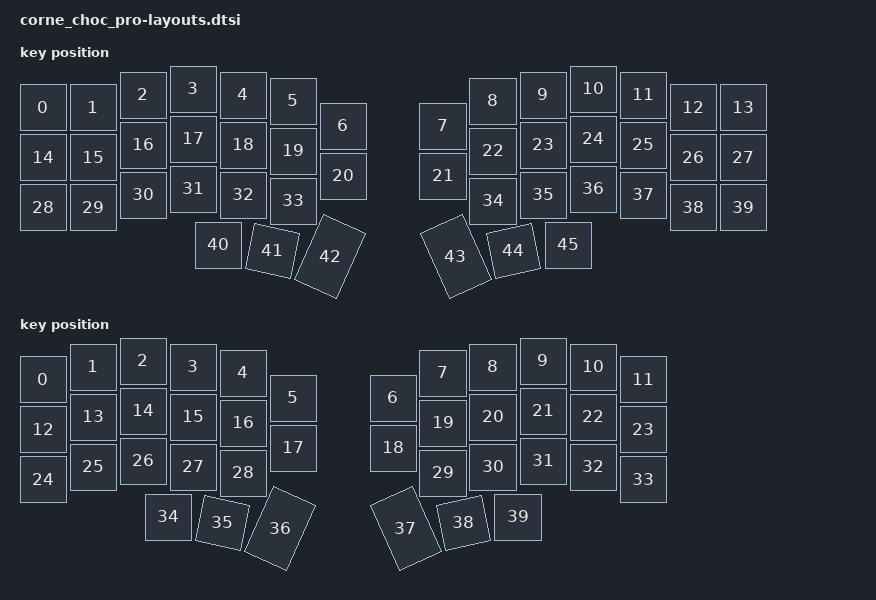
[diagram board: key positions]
#include <physical_layouts.dtsi>

/ {
    corne_choc_pro_position_map {
        compatible = "zmk,physical-layout-position-map";
        complete;

        default_map: six_col {
            physical-layout = <&default_layout>;
            positions
                = < 0  1  2  3  4  5  6  7  8  9 10 11 12 13>
                , <14 15 16 17 18 19 20 21 22 23 24 25 26 27>
                , <28 29 30 31 32 33       34 35 36 37 38 39>
                , <         40 41 42       43 44 45         >;
        };

        five_col_map: five_col {
            physical-layout = <&five_col_layout>;
            positions
                = <45  0  1  2  3  4  5  6  7  8  9 10 11 44>
                , <43 12 13 14 15 16 17 18 19 20 21 22 23 42>
                , <41 24 25 26 27 28       29 30 31 32 33 40>
                , <         34 35 36       37 38 39         >;
        };
    };
};

/ {
    default_layout: default_layout {
        compatible = "zmk,physical-layout";
        display-name = "Default Layout";
        keys  //                     w   h    x    y     rot    rx    ry
            = <&key_physical_attrs 100 100    0   37       0     0     0>
            , <&key_physical_attrs 100 100  100   37       0     0     0>
            , <&key_physical_attrs 100 100  200   12       0     0     0>
            , <&key_physical_attrs 100 100  300    0       0     0     0>
            , <&key_physical_attrs 100 100  400   12       0     0     0>
            , <&key_physical_attrs 100 100  500   24       0     0     0>
            , <&key_physical_attrs 100 100  600   74       0     0     0>
            , <&key_physical_attrs 100 100  800   74       0     0     0>
            , <&key_physical_attrs 100 100  900   24       0     0     0>
            , <&key_physical_attrs 100 100 1000   12       0     0     0>
            , <&key_physical_attrs 100 100 1100    0       0     0     0>
            , <&key_physical_attrs 100 100 1200   12       0     0     0>
            , <&key_physical_attrs 100 100 1300   37       0     0     0>
            , <&key_physical_attrs 100 100 1400   37       0     0     0>
            , <&key_physical_attrs 100 100    0  137       0     0     0>
            , <&key_physical_attrs 100 100  100  137       0     0     0>
            , <&key_physical_attrs 100 100  200  112       0     0     0>
            , <&key_physical_attrs 100 100  300  100       0     0     0>
            , <&key_physical_attrs 100 100  400  112       0     0     0>
            , <&key_physical_attrs 100 100  500  124       0     0     0>
            , <&key_physical_attrs 100 100  600  174       0     0     0>
            , <&key_physical_attrs 100 100  800  174       0     0     0>
            , <&key_physical_attrs 100 100  900  124       0     0     0>
            , <&key_physical_attrs 100 100 1000  112       0     0     0>
            , <&key_physical_attrs 100 100 1100  100       0     0     0>
            , <&key_physical_attrs 100 100 1200  112       0     0     0>
            , <&key_physical_attrs 100 100 1300  137       0     0     0>
            , <&key_physical_attrs 100 100 1400  137       0     0     0>
            , <&key_physical_attrs 100 100    0  237       0     0     0>
            , <&key_physical_attrs 100 100  100  237       0     0     0>
            , <&key_physical_attrs 100 100  200  212       0     0     0>
            , <&key_physical_attrs 100 100  300  200       0     0     0>
            , <&key_physical_attrs 100 100  400  212       0     0     0>
            , <&key_physical_attrs 100 100  500  224       0     0     0>
            , <&key_physical_attrs 100 100  900  224       0     0     0>
            , <&key_physical_attrs 100 100 1000  212       0     0     0>
            , <&key_physical_attrs 100 100 1100  200       0     0     0>
            , <&key_physical_attrs 100 100 1200  212       0     0     0>
            , <&key_physical_attrs 100 100 1300  237       0     0     0>
            , <&key_physical_attrs 100 100 1400  237       0     0     0>
            , <&key_physical_attrs 100 100  350  312       0     0     0>
            , <&key_physical_attrs 100 100  450  312    1200   450   412>
            , <&key_physical_attrs 100 150  548  283    2400   548   433>
            , <&key_physical_attrs 100 150  852  283 (-2400)   952   433>
            , <&key_physical_attrs 100 100  950  312 (-1200)  1050   412>
            , <&key_physical_attrs 100 100 1050  312       0     0     0>
            ;
    };

    five_col_layout: five_col_layout {
        compatible = "zmk,physical-layout";
        display-name = "5-Col Layout";
        keys  //                     w   h    x    y     rot    rx    ry
            = <&key_physical_attrs 100 100    0   37       0     0     0>
            , <&key_physical_attrs 100 100  100   12       0     0     0>
            , <&key_physical_attrs 100 100  200    0       0     0     0>
            , <&key_physical_attrs 100 100  300   12       0     0     0>
            , <&key_physical_attrs 100 100  400   24       0     0     0>
            , <&key_physical_attrs 100 100  500   74       0     0     0>
            , <&key_physical_attrs 100 100  700   74       0     0     0>
            , <&key_physical_attrs 100 100  800   24       0     0     0>
            , <&key_physical_attrs 100 100  900   12       0     0     0>
            , <&key_physical_attrs 100 100 1000    0       0     0     0>
            , <&key_physical_attrs 100 100 1100   12       0     0     0>
            , <&key_physical_attrs 100 100 1200   37       0     0     0>
            , <&key_physical_attrs 100 100    0  137       0     0     0>
            , <&key_physical_attrs 100 100  100  112       0     0     0>
            , <&key_physical_attrs 100 100  200  100       0     0     0>
            , <&key_physical_attrs 100 100  300  112       0     0     0>
            , <&key_physical_attrs 100 100  400  124       0     0     0>
            , <&key_physical_attrs 100 100  500  174       0     0     0>
            , <&key_physical_attrs 100 100  700  174       0     0     0>
            , <&key_physical_attrs 100 100  800  124       0     0     0>
            , <&key_physical_attrs 100 100  900  112       0     0     0>
            , <&key_physical_attrs 100 100 1000  100       0     0     0>
            , <&key_physical_attrs 100 100 1100  112       0     0     0>
            , <&key_physical_attrs 100 100 1200  137       0     0     0>
            , <&key_physical_attrs 100 100    0  237       0     0     0>
            , <&key_physical_attrs 100 100  100  212       0     0     0>
            , <&key_physical_attrs 100 100  200  200       0     0     0>
            , <&key_physical_attrs 100 100  300  212       0     0     0>
            , <&key_physical_attrs 100 100  400  224       0     0     0>
            , <&key_physical_attrs 100 100  800  224       0     0     0>
            , <&key_physical_attrs 100 100  900  212       0     0     0>
            , <&key_physical_attrs 100 100 1000  200       0     0     0>
            , <&key_physical_attrs 100 100 1100  212       0     0     0>
            , <&key_physical_attrs 100 100 1200  237       0     0     0>
            , <&key_physical_attrs 100 100  250  312       0     0     0>
            , <&key_physical_attrs 100 100  350  312    1200   350   412>
            , <&key_physical_attrs 100 150  448  283    2400   448   433>
            , <&key_physical_attrs 100 150  752  283 (-2400)   852   433>
            , <&key_physical_attrs 100 100  850  312 (-1200)   950   412>
            , <&key_physical_attrs 100 100  950  312       0     0     0>
            ;
    };
};
